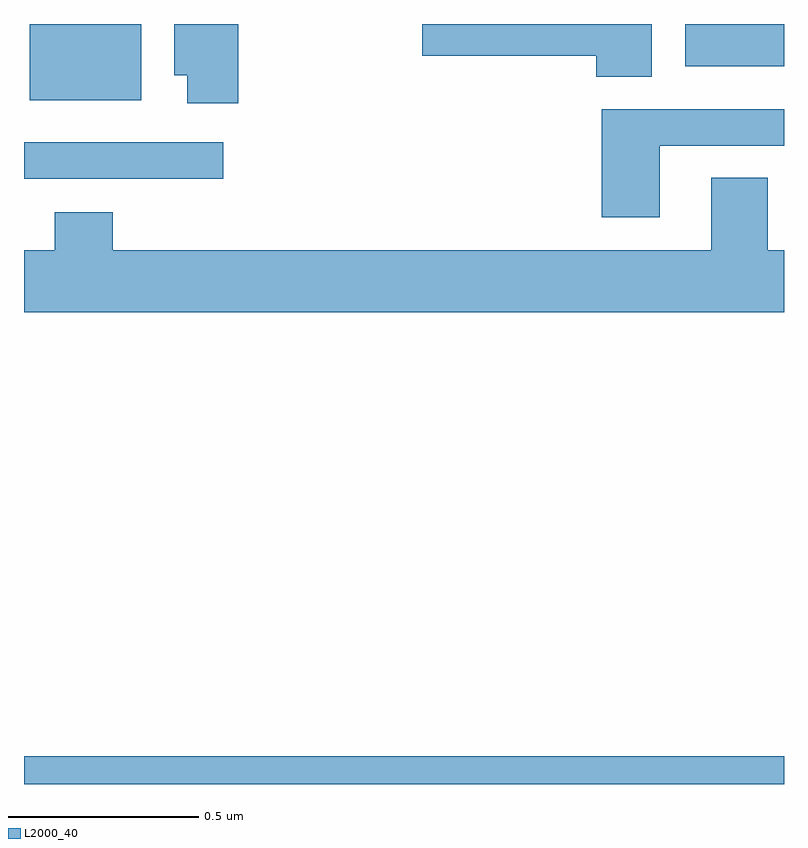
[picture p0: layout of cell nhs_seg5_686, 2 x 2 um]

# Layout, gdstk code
import gdstk
lib = gdstk.Library(unit=1e-6, precision=1e-09)
def R(c, l, rs):  # rectangles x0, y0, x1, y1
    for r in rs: c.add(gdstk.rectangle(r[:2], r[2:], *l))
def P(c, l, *ps):  # polygons
    for p in ps: c.add(gdstk.Polygon(p, *l))
L2000_40 = (2000, 40)

nhs_seg5_686 = lib.new_cell('nhs_seg5_686')
R(nhs_seg5_686, L2000_40, [(119,908.799,121,908.872), (119,910.392,119.524,910.488), (119.015,910.598,119.308,910.799), (120.74,910.688,121,910.799)])
P(nhs_seg5_686, L2000_40, [(120.652,910.799),(120.048,910.799),(120.048,910.715),(120.506,910.715),(120.506,910.66),(120.652,910.66)],
  [(119.564,910.799),(119.396,910.799),(119.396,910.664),(119.429,910.664),(119.429,910.59),(119.564,910.59)],
  [(120.673,910.479),(121,910.479),(121,910.575),(120.521,910.575),(120.521,910.29),(120.673,910.29)],
  [(121,910.204),(120.957,910.204),(120.957,910.394),(120.809,910.394),(120.809,910.204),(119.234,910.204),(119.234,910.303),(119.081,910.303),(119.081,910.204),(119,910.204),(119,910.04),(121,910.04)])

lib.write_gds('nhs_seg5_686.gds')
